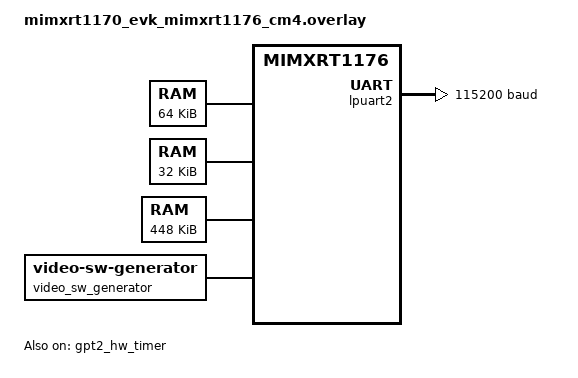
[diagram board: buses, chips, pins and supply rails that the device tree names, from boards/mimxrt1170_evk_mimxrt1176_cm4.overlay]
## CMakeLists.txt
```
# Copyright 2026 NXP
#
# SPDX-License-Identifier: Apache-2.0

cmake_minimum_required(VERSION 3.20.0)
find_package(Zephyr REQUIRED HINTS $ENV{ZEPHYR_BASE})
project(cam_disp_multicore_remote)

target_sources(app PRIVATE src/main.c)
```

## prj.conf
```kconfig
CONFIG_PRINTK=y
CONFIG_LOG=y
CONFIG_LOG_MODE_MINIMAL=y
# main() negotiates the pipeline and answers the calls of the other core
CONFIG_MAIN_STACK_SIZE=6000
CONFIG_HEAP_MEM_POOL_SIZE=8192

CONFIG_MPIPE=y
CONFIG_MPIPE_STRUCTURE_MAX_FIELDS=6
CONFIG_MPIPE_BASE=y
# The pipeline server needs both application elements to be built
CONFIG_MPIPE_BASE_APP_SRC=y
CONFIG_MPIPE_BASE_APP_SINK=y
CONFIG_MPIPE_VID=y
CONFIG_MPIPE_PIPELINE_SERVER=y
CONFIG_MPIPE_VID_PIPELINE_SERVER=y
CONFIG_MPIPE_ERPC_VID_SERVER=y

# The pipeline has a source of its own, so it streams on its own thread
CONFIG_MPIPE_THREADS_NUM=1
CONFIG_MPIPE_THREAD_STACK_SIZE=2048
CONFIG_MPIPE_NET_BUF_POOL_COUNT=4
CONFIG_MPIPE_BASE_APP_SRC_BUF_SZ=4
CONFIG_MPIPE_BASE_APP_SRC_POOL_NUM=1
# The frame the client has not asked for yet
CONFIG_MPIPE_BASE_APP_SINK_QUEUE_DEPTH=1

# The image runs from the 128K of code RAM of the core
CONFIG_CBPRINTF_NANO=y

# eRPC server over the IPC service, nothing from the heap
CONFIG_ERPC=y
CONFIG_ERPC_TRANSPORT_IPC_SERVICE=y
CONFIG_ERPC_ALLOCATION_POLICY_STATIC=y
CONFIG_ERPC_CODEC_COUNT=1
CONFIG_ERPC_DEFAULT_BUFFER_SIZE=4096
CONFIG_MPIPE_ERPC_SERVER=y

# RPMsg-Lite
CONFIG_RL_API_HAS_ZEROCOPY=y
CONFIG_RL_USE_STATIC_API=y
# The other core opens the link when it creates its first channel, which
# can be seconds after the boot: wait for it longer than the default 5 s
CONFIG_IPC_SERVICE_BACKEND_RPMSG_LITE_LINK_UP_TIMEOUT_MS=60000
CONFIG_TIMESLICE_SIZE=1

# The bus carries end-of-stream and errors, never data: it needs neither
# zbus priority boost nor zbus logging of its own.
CONFIG_ZBUS_PRIORITY_BOOST=n
CONFIG_ZBUS_LOG_LEVEL_ERR=y
```

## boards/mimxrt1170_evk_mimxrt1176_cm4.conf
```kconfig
CONFIG_BUILD_OUTPUT_INFO_HEADER=y
CONFIG_BUILD_OUTPUT_HEX=y
CONFIG_SECOND_CORE_MCUX=y

# Two frames of the source, 320x240 RGB565, in the free part of OCRAM2
CONFIG_VIDEO_BUFFER_POOL_NUM_MAX=2
CONFIG_VIDEO_BUFFER_POOL_HEAP_SIZE=393216
CONFIG_VIDEO_BUFFER_POOL_ZEPHYR_REGION=y
CONFIG_VIDEO_BUFFER_POOL_ZEPHYR_REGION_NAME="OCRAM2_VIDEO"
# The video heap is larger than the 256K a small heap can hold; the build
# chooses small heaps only because the RAM of the core is 64K
CONFIG_SYS_HEAP_AUTO=y
```

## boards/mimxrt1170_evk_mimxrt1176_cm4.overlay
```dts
/*
 * Copyright 2026 NXP
 *
 * SPDX-License-Identifier: Apache-2.0
 */

#include <zephyr/dt-bindings/ipc_service/static_vrings.h>
#include <zephyr/dt-bindings/memory-attr/memory-attr-arm.h>

/ {
	aliases {
		/* The IPC instance eRPC runs over */
		erpc-ipc = &ipc0;
	};

	chosen {
		/*
		 * The M7 sees the two TCMs of the M4 as one block at 0x20200000,
		 * the ITCM then the DTCM, and loads the image there. The code
		 * takes the ITCM. The initial values of the data follow it, so
		 * they land in the lower half of the DTCM.
		 */
		zephyr,flash = &ocram;
		/* The upper half of the DTCM: the RAM must not overlap those values */
		zephyr,sram = &dtcm_hi;
		zephyr,console = &lpuart2;
		zephyr,shell-uart = &lpuart2;
		zephyr,camera = &video_sw_generator;

		/* Delete ipc chosen property where old IPM mailbox driver below is
		 * configured.
		 */
		/delete-property/ zephyr,ipc;
		/delete-property/ zephyr,ipc_shm;
	};

	dtcm_hi: memory@20010000 {
		compatible = "mmio-sram";
		reg = <0x20010000 DT_SIZE_K(64)>;
	};

	/* Define memory regions for IPC
	 * Note that shared memory must have specific MPU attributes set.
	 */
	ocram2_ipc0: memory@202c0000 {
		compatible = "zephyr,memory-region", "mmio-sram";
		reg = <0x202c0000 DT_SIZE_K(32)>;
		zephyr,memory-region = "OCRAM2_IPC0";
		zephyr,memory-attr = <DT_MEM_ARM(ATTR_MPU_IO)>;
	};

	/*
	 * The frames of the video source: the RAM of this core has no room for
	 * them. They take the part of OCRAM2 the IPC leaves free.
	 */
	ocram2_video: memory@202c8000 {
		compatible = "zephyr,memory-region", "mmio-sram";
		reg = <0x202c8000 DT_SIZE_K(448)>;
		zephyr,memory-region = "OCRAM2_VIDEO";
	};

	/* The video source of this core: frames drawn by software */
	video_sw_generator: video-sw-generator {
		compatible = "zephyr,video-sw-generator";
	};

	soc {
		/delete-node/ gpt@400f0000;

		/* Replace GPT2 with another GPT kernel timer */
		gpt2_hw_timer: gpt@400f0000 {
			compatible = "nxp,gpt-hw-timer";
			reg = <0x400f0000 0x4000>;
			interrupts = <120 0>;
			status = "okay";
		};

		/* Delete IPM Driver node nxp,imx-mu */
		/delete-node/ mailbox@40c4c000;

		/* Attach MBOX driver to MU Unit */
		mbox: mbox@40c4c000 {
			compatible = "nxp,mbox-imx-mu";
			reg = <0x40c4c000 0x4000>;
			interrupts = <118 0>;
			rx-channels = <4>;
			#mbox-cells = <1>;
			status = "okay";
		};
	};

	ipc {
		/delete-node/ ipc0;

		ipc0: ipc0 {
			compatible = "nxp,ipc-rpmsg-lite";
			memory-region = <&ocram2_ipc0>;
			mboxes = <&mbox 2>, <&mbox 3>;
			mbox-names = "rx", "tx";
			link-id = <0>;
			role = "remote";
			buffer-size = <512>;
			buffer-count = <4>;
			status = "okay";
		};
	};
};

/* Enable secondary LPUART */
&lpuart2 {
	status = "okay";
	current-speed = <115200>;
};

/* Disable primary GPT timer */
&gpt_hw_timer {
	status = "disabled";
};
```

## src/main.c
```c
/*
 * Copyright 2026 NXP
 *
 * SPDX-License-Identifier: Apache-2.0
 */

/*
 * Remote side: this core owns the video source and serves its pipeline to the
 * source client of the other core.
 *
 *   vid_src -> app_sink
 *
 * The pipeline streams on its own thread; the client of the other core takes
 * each frame that reaches the app_sink.
 */

#include <zephyr/kernel.h>
#include <zephyr/logging/log.h>
#include <zephyr/sys/util.h>

#include <zephyr/mpipe/mpipe.h>
#include <zephyr/mpipe/base/mpipe_app_sink.h>
#include <zephyr/mpipe/erpc/mpipe_erpc_vid.h>
#include <zephyr/mpipe/utils/mpipe_pipeline_server.h>
#include <zephyr/mpipe/vid/mpipe_vid_src.h>

LOG_MODULE_REGISTER(main, CONFIG_LOG_DEFAULT_LEVEL);

enum {
	PIPE_ID,
	VID_SRC_ID,
	APP_SINK_ID,
};

/* IPC endpoint of the served pipeline: the source client uses the same name */
#define CAM_ENDPOINT "mpipe_cam"

int main(void)
{
	static struct mpipe pipe;
	static struct mpipe_vid_src vid_src;
	static struct mpipe_app_sink app_sink;
	static struct mpipe_pipeline_server server;
	static struct mpipe_pipeline_server *const servers[] = {&server};
	int ret;

	LOG_INF("Remote started");

	ret = mpipe_pipeline_init(&pipe, PIPE_ID);
	if (ret < 0) {
		goto err;
	}
	ret = mpipe_vid_src_init(&vid_src, VID_SRC_ID);
	if (ret < 0) {
		goto err;
	}
	ret = mpipe_app_sink_init(&app_sink, APP_SINK_ID);
	if (ret < 0) {
		goto err;
	}

	ret = mpipe_bin_add((struct mpipe_bin *)&pipe, (struct mpipe_element *)&vid_src,
			    (struct mpipe_element *)&app_sink, NULL);
	if (ret < 0) {
		LOG_ERR("Failed to add elements (%d)", ret);
		goto err;
	}

	ret = mpipe_element_link((struct mpipe_element *)&vid_src,
				 (struct mpipe_element *)&app_sink, NULL);
	if (ret < 0) {
		LOG_ERR("Failed to link elements (%d)", ret);
		goto err;
	}

	/* The pipeline has a source of its own: the server is given no application source */
	ret = mpipe_pipeline_server_init(&server, &pipe, NULL, &app_sink);
	if (ret < 0) {
		LOG_ERR("Failed to init the pipeline server (%d)", ret);
		goto err;
	}

	(void)mpipe_erpc_vid_server_run(servers, ARRAY_SIZE(servers), CAM_ENDPOINT);

err:
	LOG_ERR("Aborting sample");
	return 0;
}
```
